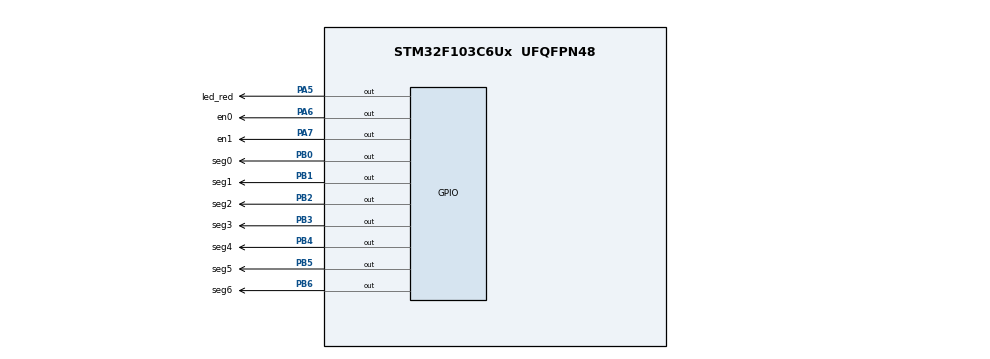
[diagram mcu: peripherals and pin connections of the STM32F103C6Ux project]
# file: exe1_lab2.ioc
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Mcu.Family=STM32F1
Mcu.Name=STM32F103C6Ux
Mcu.Package=UFQFPN48
NVIC.PriorityGroup=NVIC_PRIORITYGROUP_4
NVIC.TIM2_IRQn=true\:0\:0\:false\:false\:true\:true\:true\:true
PA5.GPIO_Label=led_red
PA5.Signal=GPIO_Output
PA6.GPIO_Label=en0
PA6.Signal=GPIO_Output
PA7.GPIO_Label=en1
PA7.Signal=GPIO_Output
PB0.GPIO_Label=seg0
PB0.Signal=GPIO_Output
PB1.GPIO_Label=seg1
PB1.Signal=GPIO_Output
PB2.GPIO_Label=seg2
PB2.Signal=GPIO_Output
PB3.GPIO_Label=seg3
PB3.Signal=GPIO_Output
PB4.GPIO_Label=seg4
PB4.Signal=GPIO_Output
PB5.GPIO_Label=seg5
PB5.Signal=GPIO_Output
PB6.GPIO_Label=seg6
PB6.Signal=GPIO_Output
ProjectManager.HeapSize=0x200
ProjectManager.StackSize=0x400
ProjectManager.TargetToolchain=STM32CubeIDE
RCC.APB1Freq_Value=8000000
RCC.APB2Freq_Value=8000000
TIM2.Period=9
TIM2.Prescaler=7999
VP_TIM2_VS_ClockSourceINT.Mode=Internal
board=custom

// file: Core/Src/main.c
/* USER CODE BEGIN Header */
/**
  ******************************************************************************
  * @file           : main.c
  * @brief          : Main program body
  ******************************************************************************
  * @attention
  *
  * Copyright (c) 2022 STMicroelectronics.
  * All rights reserved.
  *
  * This software is licensed under terms that can be found in the LICENSE file
  * in the root directory of this software component.
  * If no LICENSE file comes with this software, it is provided AS-IS.
  *
  ******************************************************************************
  */
/* USER CODE END Header */
#include "main.h"

TIM_HandleTypeDef htim2;

void SystemClock_Config(void);
static void MX_GPIO_Init(void);
static void MX_TIM2_Init(void);

/* USER CODE BEGIN 0 */
void display7SEG(int num){
	  if(num == 0){
		  HAL_GPIO_WritePin(seg0_GPIO_Port, seg0_Pin, RESET);
		  HAL_GPIO_WritePin(seg1_GPIO_Port, seg1_Pin, RESET);
		  HAL_GPIO_WritePin(seg2_GPIO_Port, seg2_Pin, RESET);
		  HAL_GPIO_WritePin(seg3_GPIO_Port, seg3_Pin, RESET);
		  HAL_GPIO_WritePin(seg4_GPIO_Port, seg4_Pin, RESET);
		  HAL_GPIO_WritePin(seg5_GPIO_Port, seg5_Pin, RESET);
		  HAL_GPIO_WritePin(seg6_GPIO_Port, seg6_Pin, SET);
	  }
	  if(num == 1){
		  HAL_GPIO_WritePin(seg0_GPIO_Port, seg0_Pin, SET);
		  HAL_GPIO_WritePin(seg1_GPIO_Port, seg1_Pin, RESET);
		  HAL_GPIO_WritePin(seg2_GPIO_Port, seg2_Pin, RESET);
		  HAL_GPIO_WritePin(seg3_GPIO_Port, seg3_Pin, SET);
		  HAL_GPIO_WritePin(seg4_GPIO_Port, seg4_Pin, SET);
		  HAL_GPIO_WritePin(seg5_GPIO_Port, seg5_Pin, SET);
		  HAL_GPIO_WritePin(seg6_GPIO_Port, seg6_Pin, SET);
	  }
	  if(num == 2){
		  HAL_GPIO_WritePin(seg0_GPIO_Port, seg0_Pin, RESET);
		  HAL_GPIO_WritePin(seg1_GPIO_Port, seg1_Pin, RESET);
		  HAL_GPIO_WritePin(seg2_GPIO_Port, seg2_Pin, SET);
		  HAL_GPIO_WritePin(seg3_GPIO_Port, seg3_Pin, RESET);
		  HAL_GPIO_WritePin(seg4_GPIO_Port, seg4_Pin, RESET);
		  HAL_GPIO_WritePin(seg5_GPIO_Port, seg5_Pin, SET);
		  HAL_GPIO_WritePin(seg6_GPIO_Port, seg6_Pin, RESET);
	  }
	  if(num == 3){
		  HAL_GPIO_WritePin(seg0_GPIO_Port, seg0_Pin, RESET);
		  HAL_GPIO_WritePin(seg1_GPIO_Port, seg1_Pin, RESET);
		  HAL_GPIO_WritePin(seg2_GPIO_Port, seg2_Pin, RESET);
		  HAL_GPIO_WritePin(seg3_GPIO_Port, seg3_Pin, RESET);
		  HAL_GPIO_WritePin(seg4_GPIO_Port, seg4_Pin, SET);
		  HAL_GPIO_WritePin(seg5_GPIO_Port, seg5_Pin, SET);
		  HAL_GPIO_WritePin(seg6_GPIO_Port, seg6_Pin, RESET);
	  }
	  if(num == 4){
		  HAL_GPIO_WritePin(seg0_GPIO_Port, seg0_Pin, SET);
		  HAL_GPIO_WritePin(seg1_GPIO_Port, seg1_Pin, RESET);
		  HAL_GPIO_WritePin(seg2_GPIO_Port, seg2_Pin, RESET);
		  HAL_GPIO_WritePin(seg3_GPIO_Port, seg3_Pin, SET);
		  HAL_GPIO_WritePin(seg4_GPIO_Port, seg4_Pin, SET);
		  HAL_GPIO_WritePin(seg5_GPIO_Port, seg5_Pin, RESET);
		  HAL_GPIO_WritePin(seg6_GPIO_Port, seg6_Pin, RESET);
	  }
	  if(num == 5){
		  HAL_GPIO_WritePin(seg0_GPIO_Port, seg0_Pin, RESET);
		  HAL_GPIO_WritePin(seg1_GPIO_Port, seg1_Pin, SET);
		  HAL_GPIO_WritePin(seg2_GPIO_Port, seg2_Pin, RESET);
		  HAL_GPIO_WritePin(seg3_GPIO_Port, seg3_Pin, RESET);
		  HAL_GPIO_WritePin(seg4_GPIO_Port, seg4_Pin, SET);
		  HAL_GPIO_WritePin(seg5_GPIO_Port, seg5_Pin, RESET);
		  HAL_GPIO_WritePin(seg6_GPIO_Port, seg6_Pin, RESET);
	  }
	  if(num == 6){
		  HAL_GPIO_WritePin(seg0_GPIO_Port, seg0_Pin, RESET);
		  HAL_GPIO_WritePin(seg1_GPIO_Port, seg1_Pin, SET);
		  HAL_GPIO_WritePin(seg2_GPIO_Port, seg2_Pin, RESET);
		  HAL_GPIO_WritePin(seg3_GPIO_Port, seg3_Pin, RESET);
		  HAL_GPIO_WritePin(seg4_GPIO_Port, seg4_Pin, RESET);
		  HAL_GPIO_WritePin(seg5_GPIO_Port, seg5_Pin, RESET);
		  HAL_GPIO_WritePin(seg6_GPIO_Port, seg6_Pin, RESET);
	  }
	  if(num == 7){
		  HAL_GPIO_WritePin(seg0_GPIO_Port, seg0_Pin, RESET);
		  HAL_GPIO_WritePin(seg1_GPIO_Port, seg1_Pin, RESET);
		  HAL_GPIO_WritePin(seg2_GPIO_Port, seg2_Pin, RESET);
		  HAL_GPIO_WritePin(seg3_GPIO_Port, seg3_Pin, SET);
		  HAL_GPIO_WritePin(seg4_GPIO_Port, seg4_Pin, SET);
		  HAL_GPIO_WritePin(seg5_GPIO_Port, seg5_Pin, SET);
		  HAL_GPIO_WritePin(seg6_GPIO_Port, seg6_Pin, SET);
	  }
	  if(num == 8){
		  HAL_GPIO_WritePin(seg0_GPIO_Port, seg0_Pin, RESET);
		  HAL_GPIO_WritePin(seg1_GPIO_Port, seg1_Pin, RESET);
		  HAL_GPIO_WritePin(seg2_GPIO_Port, seg2_Pin, RESET);
		  HAL_GPIO_WritePin(seg3_GPIO_Port, seg3_Pin, RESET);
		  HAL_GPIO_WritePin(seg4_GPIO_Port, seg4_Pin, RESET);
		  HAL_GPIO_WritePin(seg5_GPIO_Port, seg5_Pin, RESET);
		  HAL_GPIO_WritePin(seg6_GPIO_Port, seg6_Pin, RESET);
	  }
	  if(num == 9){
		  HAL_GPIO_WritePin(seg0_GPIO_Port, seg0_Pin, RESET);
		  HAL_GPIO_WritePin(seg1_GPIO_Port, seg1_Pin, RESET);
		  HAL_GPIO_WritePin(seg2_GPIO_Port, seg2_Pin, RESET);
		  HAL_GPIO_WritePin(seg3_GPIO_Port, seg3_Pin, RESET);
		  HAL_GPIO_WritePin(seg4_GPIO_Port, seg4_Pin, SET);
		  HAL_GPIO_WritePin(seg5_GPIO_Port, seg5_Pin, RESET);
		  HAL_GPIO_WritePin(seg6_GPIO_Port, seg6_Pin, RESET);
	  }
};
/* USER CODE END 0 */

int main(void)
{

  /* MCU Configuration--------------------------------------------------------*/

  /* Reset of all peripherals, Initializes the Flash interface and the Systick. */
  HAL_Init();

  /* Configure the system clock */
  SystemClock_Config();

  /* Initialize all configured peripherals */
  MX_GPIO_Init();
  MX_TIM2_Init();
  /* USER CODE BEGIN 2 */
  HAL_TIM_Base_Start_IT (& htim2 );
  /* USER CODE END 2 */

  /* Infinite loop */
  while (1)
  {

  }
}

void SystemClock_Config(void)
{
  RCC_OscInitTypeDef RCC_OscInitStruct = {0};
  RCC_ClkInitTypeDef RCC_ClkInitStruct = {0};

  /** Initializes the RCC Oscillators according to the specified parameters
  * in the RCC_OscInitTypeDef structure.
  */
  RCC_OscInitStruct.OscillatorType = RCC_OSCILLATORTYPE_HSI;
  RCC_OscInitStruct.HSIState = RCC_HSI_ON;
  RCC_OscInitStruct.HSICalibrationValue = RCC_HSICALIBRATION_DEFAULT;
  RCC_OscInitStruct.PLL.PLLState = RCC_PLL_NONE;
  if (HAL_RCC_OscConfig(&RCC_OscInitStruct) != HAL_OK)
  {
    Error_Handler();
  }

  /** Initializes the CPU, AHB and APB buses clocks
  */
  RCC_ClkInitStruct.ClockType = RCC_CLOCKTYPE_HCLK|RCC_CLOCKTYPE_SYSCLK
                              |RCC_CLOCKTYPE_PCLK1|RCC_CLOCKTYPE_PCLK2;
  RCC_ClkInitStruct.SYSCLKSource = RCC_SYSCLKSOURCE_HSI;
  RCC_ClkInitStruct.AHBCLKDivider = RCC_SYSCLK_DIV1;
  RCC_ClkInitStruct.APB1CLKDivider = RCC_HCLK_DIV1;
  RCC_ClkInitStruct.APB2CLKDivider = RCC_HCLK_DIV1;

  if (HAL_RCC_ClockConfig(&RCC_ClkInitStruct, FLASH_LATENCY_0) != HAL_OK)
  {
    Error_Handler();
  }
}

static void MX_TIM2_Init(void)
{

  TIM_ClockConfigTypeDef sClockSourceConfig = {0};
  TIM_MasterConfigTypeDef sMasterConfig = {0};

  htim2.Instance = TIM2;
  htim2.Init.Prescaler = 7999;
  htim2.Init.CounterMode = TIM_COUNTERMODE_UP;
  htim2.Init.Period = 9;
  htim2.Init.ClockDivision = TIM_CLOCKDIVISION_DIV1;
  htim2.Init.AutoReloadPreload = TIM_AUTORELOAD_PRELOAD_DISABLE;
  if (HAL_TIM_Base_Init(&htim2) != HAL_OK)
  {
    Error_Handler();
  }
  sClockSourceConfig.ClockSource = TIM_CLOCKSOURCE_INTERNAL;
  if (HAL_TIM_ConfigClockSource(&htim2, &sClockSourceConfig) != HAL_OK)
  {
    Error_Handler();
  }
  sMasterConfig.MasterOutputTrigger = TIM_TRGO_RESET;
  sMasterConfig.MasterSlaveMode = TIM_MASTERSLAVEMODE_DISABLE;
  if (HAL_TIMEx_MasterConfigSynchronization(&htim2, &sMasterConfig) != HAL_OK)
  {
    Error_Handler();
  }

}

static void MX_GPIO_Init(void)
{
  GPIO_InitTypeDef GPIO_InitStruct = {0};

  /* GPIO Ports Clock Enable */
  __HAL_RCC_GPIOA_CLK_ENABLE();
  __HAL_RCC_GPIOB_CLK_ENABLE();

  /*Configure GPIO pin Output Level */
  HAL_GPIO_WritePin(GPIOA, led_red_Pin|en0_Pin|en1_Pin, GPIO_PIN_RESET);

  /*Configure GPIO pin Output Level */
  HAL_GPIO_WritePin(GPIOB, seg0_Pin|seg1_Pin|seg2_Pin|seg3_Pin
                          |seg4_Pin|seg5_Pin|seg6_Pin, GPIO_PIN_RESET);

  /*Configure GPIO pins : led_red_Pin en0_Pin en1_Pin */
  GPIO_InitStruct.Pin = led_red_Pin|en0_Pin|en1_Pin;
  GPIO_InitStruct.Mode = GPIO_MODE_OUTPUT_PP;
  GPIO_InitStruct.Pull = GPIO_NOPULL;
  GPIO_InitStruct.Speed = GPIO_SPEED_FREQ_LOW;
  HAL_GPIO_Init(GPIOA, &GPIO_InitStruct);

  /*Configure GPIO pins : seg0_Pin seg1_Pin seg2_Pin seg3_Pin
                           seg4_Pin seg5_Pin seg6_Pin */
  GPIO_InitStruct.Pin = seg0_Pin|seg1_Pin|seg2_Pin|seg3_Pin
                          |seg4_Pin|seg5_Pin|seg6_Pin;
  GPIO_InitStruct.Mode = GPIO_MODE_OUTPUT_PP;
  GPIO_InitStruct.Pull = GPIO_NOPULL;
  GPIO_InitStruct.Speed = GPIO_SPEED_FREQ_LOW;
  HAL_GPIO_Init(GPIOB, &GPIO_InitStruct);

}

/* USER CODE BEGIN 4 */
int count = 0;
int time = 0;
void HAL_TIM_PeriodElapsedCallback ( TIM_HandleTypeDef * htim ){
// switch LED_RED and 2 7SEG_LED
	if (count == 0){
		HAL_GPIO_WritePin(led_red_GPIO_Port, led_red_Pin, SET);
		HAL_GPIO_WritePin(en0_GPIO_Port, en0_Pin, RESET);
		HAL_GPIO_WritePin(en1_GPIO_Port, en1_Pin, SET);
		display7SEG(time);
	}
	if (count == 50){
		HAL_GPIO_WritePin(led_red_GPIO_Port, led_red_Pin, RESET);
		HAL_GPIO_WritePin(en0_GPIO_Port, en0_Pin, SET);
		HAL_GPIO_WritePin(en1_GPIO_Port, en1_Pin, RESET);
		display7SEG(time);
	}
// reset count condition
	if (count >= 99){
		count = -1;
	}
// reset time condition
	if (time >= 9) time = 0;
	if (count == 50 || count == 0) time++;
	count++;
}
/* USER CODE END 4 */

void Error_Handler(void)
{
  __disable_irq();
  while (1)
  {
  }
}
